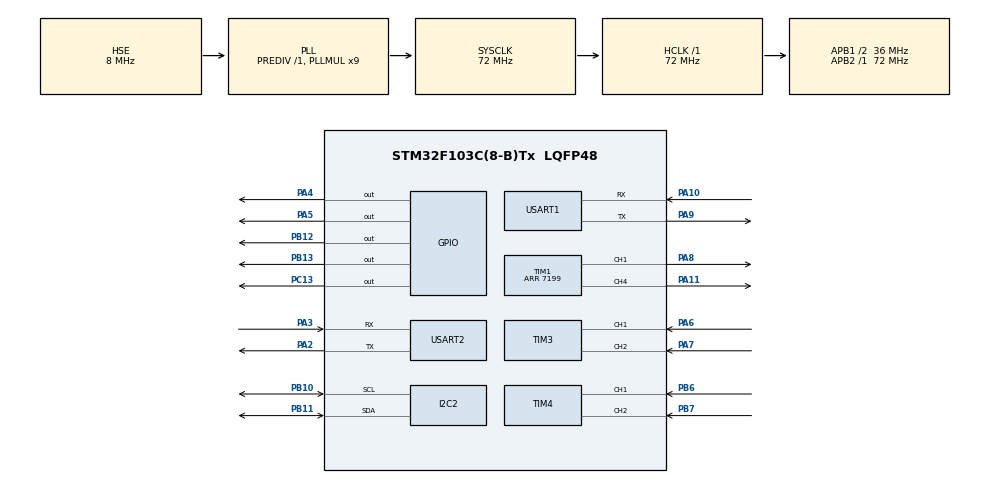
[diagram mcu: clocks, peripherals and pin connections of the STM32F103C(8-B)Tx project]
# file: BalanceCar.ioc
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I2C2.I2C_Mode=I2C_Fast
Mcu.Family=STM32F1
Mcu.Name=STM32F103C(8-B)Tx
Mcu.Package=LQFP48
NVIC.PriorityGroup=NVIC_PRIORITYGROUP_4
NVIC.TIM2_IRQn=true\:0\:0\:false\:false\:true\:true\:true
NVIC.USART1_IRQn=true\:0\:0\:false\:false\:true\:true\:true
PA10.Mode=Asynchronous
PA10.Signal=USART1_RX
PA11.Signal=S_TIM1_CH4
PA13.Mode=Serial_Wire
PA13.Signal=SYS_JTMS-SWDIO
PA14.Mode=Serial_Wire
PA14.Signal=SYS_JTCK-SWCLK
PA2.Mode=Asynchronous
PA2.Signal=USART2_TX
PA3.Mode=Asynchronous
PA3.Signal=USART2_RX
PA4.GPIO_Speed=GPIO_SPEED_FREQ_HIGH
PA4.Signal=GPIO_Output
PA5.GPIO_Speed=GPIO_SPEED_FREQ_HIGH
PA5.Signal=GPIO_Output
PA6.Signal=S_TIM3_CH1
PA7.Signal=S_TIM3_CH2
PA8.Signal=S_TIM1_CH1
PA9.Mode=Asynchronous
PA9.Signal=USART1_TX
PB10.Mode=I2C
PB10.Signal=I2C2_SCL
PB11.Mode=I2C
PB11.Signal=I2C2_SDA
PB12.GPIO_Speed=GPIO_SPEED_FREQ_HIGH
PB12.Signal=GPIO_Output
PB13.GPIO_Speed=GPIO_SPEED_FREQ_HIGH
PB13.Signal=GPIO_Output
PB6.Signal=S_TIM4_CH1
PB7.Signal=S_TIM4_CH2
PC13-TAMPER-RTC.Signal=GPIO_Output
PD0-OSC_IN.Mode=HSE-External-Oscillator
PD0-OSC_IN.Signal=RCC_OSC_IN
PD1-OSC_OUT.Mode=HSE-External-Oscillator
PD1-OSC_OUT.Signal=RCC_OSC_OUT
ProjectManager.HeapSize=0x200
ProjectManager.StackSize=0x400
ProjectManager.TargetToolchain=MDK-ARM V5
RCC.AHBFreq_Value=72000000
RCC.APB1CLKDivider=RCC_HCLK_DIV2
RCC.APB1Freq_Value=36000000
RCC.APB1TimFreq_Value=72000000
RCC.APB2Freq_Value=72000000
RCC.APB2TimFreq_Value=72000000
RCC.HCLKFreq_Value=72000000
RCC.PLLMUL=RCC_PLL_MUL9
RCC.PLLSourceVirtual=RCC_PLLSOURCE_HSE
RCC.SYSCLKFreq_VALUE=72000000
RCC.SYSCLKSource=RCC_SYSCLKSOURCE_PLLCLK
RCC.USBFreq_Value=72000000
SH.S_TIM1_CH1.0=TIM1_CH1,PWM Generation1 CH1
SH.S_TIM1_CH4.0=TIM1_CH4,PWM Generation4 CH4
SH.S_TIM3_CH1.0=TIM3_CH1,Encoder_Interface
SH.S_TIM3_CH2.0=TIM3_CH2,Encoder_Interface
SH.S_TIM4_CH1.0=TIM4_CH1,Encoder_Interface
SH.S_TIM4_CH2.0=TIM4_CH2,Encoder_Interface
TIM1.Channel-PWM\ Generation1\ CH1=TIM_CHANNEL_1
TIM1.Channel-PWM\ Generation4\ CH4=TIM_CHANNEL_4
TIM1.Period=7199
TIM2.AutoReloadPreload=TIM_AUTORELOAD_PRELOAD_ENABLE
TIM2.Period=99
TIM2.Prescaler=7199
TIM3.EncoderMode=TIM_ENCODERMODE_TI12
TIM4.EncoderMode=TIM_ENCODERMODE_TI12
USART1.VirtualMode=VM_ASYNC
USART2.VirtualMode=VM_ASYNC
VP_TIM1_VS_ClockSourceINT.Mode=Internal
VP_TIM2_VS_ClockSourceINT.Mode=Internal
board=custom

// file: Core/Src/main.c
/* USER CODE BEGIN Header */
/**
  ******************************************************************************
  * @file           : main.c
  * @brief          : Main program body
  ******************************************************************************
  * @attention
  *
  * Copyright (c) 2022 STMicroelectronics.
  * All rights reserved.
  *
  * This software is licensed under terms that can be found in the LICENSE file
  * in the root directory of this software component.
  * If no LICENSE file comes with this software, it is provided AS-IS.
  *
  ******************************************************************************
  */
/* USER CODE END Header */
#include "main.h"
#include "i2c.h"
#include "tim.h"
#include "usart.h"
#include "gpio.h"

/* USER CODE BEGIN Includes */
#include "stdio.h"
#include "math.h"
#include "mpu6050.h"
#include "inv_mpu.h"
#include "inv_mpu_dmp_motion_driver.h"
/* USER CODE END Includes */

/* USER CODE BEGIN PTD */

//-----全局变量---
__IO uint32_t uwTick_UART = 0;
int Vertical_out,Velocity_out,Turn_out; // 直立环&速度环&转向环的输出变量
int Encoder_Left,Encoder_Right,Balance_PWM;
int Moto1,Moto2;
int PWM_out,Turn_Pwm; //闭环输出

u8 AIN1,AIN2;//控制电机正反转
u8 BIN1,BIN2;
u8 Moto_Flag=0;//电机控制标志
u8 Start_Flag=0;//系统初始化完成标志

float Pitch,Roll,Yaw;	        // Pitch：俯仰角，Roll：横滚角，Yaw：偏航角
short gyrox,gyroy,gyroz;        // 角速度
short aacx,aacy,aacz;           // 加速度
float Med_Angle=0;//机械中值，能使得小车真正平衡住的角度

uint8_t Usart1_RX_Buf;  //串口接收数据缓存buf
u8 Flag_forward = 0, Flag_retreat = 0, Flag_left = 0, Flag_right = 0;//蓝牙遥控标志
unsigned char Usart_TX_Buf[40];

//----子函数声明-----
void UART_Proc();
//void	go();
//void	stop();
//void	backward();
int Vertical(float Angle,float Gyro_Y);			 				//直立环
int Velocity(int Encoder_left,int Encoder_right);				//速度环
int Turn(int Encoder_Left,int Encoder_Right,float gyro);	//转向环
u8 Stop(signed int angle);    		//倒下保护
void Limit(int *motoA,int *motoB);  //电机速度限幅
void Set_Pwm(int Moto1,int Moto2);	//控制PWM最终输出

//-----printf重定向-----
int fputc(int ch,FILE *f)
{
	HAL_UART_Transmit(&huart2,(uint8_t *)&ch,1,0xFFFF);
	return ch;

}

/* USER CODE END PTD */

void SystemClock_Config(void);

int main(void)
{

  /* MCU Configuration--------------------------------------------------------*/

  /* Reset of all peripherals, Initializes the Flash interface and the Systick. */
  HAL_Init();

  /* Configure the system clock */
  SystemClock_Config();

  /* Initialize all configured peripherals */
  MX_GPIO_Init();
  MX_I2C2_Init();
  MX_USART2_UART_Init();
  MX_TIM1_Init();
  MX_TIM3_Init();
  MX_TIM4_Init();
  MX_TIM2_Init();
  MX_USART1_UART_Init();
  /* USER CODE BEGIN 2 */
  //启动TIM初始化
    HAL_TIM_Base_Start_IT(&htim2);//每10ms触发一次中断

    HAL_TIM_PWM_Start(&htim1, TIM_CHANNEL_1);//PWM
  	 HAL_TIM_PWM_Start(&htim1, TIM_CHANNEL_4);

	 HAL_TIM_Encoder_Start(&htim3,TIM_CHANNEL_1);//编码器
	 HAL_TIM_Encoder_Start(&htim3,TIM_CHANNEL_2);
	 HAL_TIM_Encoder_Start(&htim4,TIM_CHANNEL_1);
	 HAL_TIM_Encoder_Start(&htim4,TIM_CHANNEL_2);
//
//    HAL_UART_Receive_IT(&huart1, &Usart1_RX_Buf, 1);//使能串口1接收中断

//	 sprintf((char *)Usart_TX_Buf,"AT+UART=115200,0,0\r\n");
//    HAL_UART_Transmit(&huart1,(unsigned char*)Usart_TX_Buf,strlen(str),8);

	//------MPU6050测试-----
//   printf("Mpu6050 Project Start\r\n");

  //----iic读取MUP器件ID----
  uint8_t recv = 0x00;
  HAL_I2C_Mem_Read(&hi2c2, (0x68 << 1), 0x75, I2C_MEMADD_SIZE_8BIT, &recv, 1, 0xfff);//句柄，MUP地址,器件ID寄存器

  if (recv == 0x68)
  {
//    printf("mpu6050 ID Read: OK at 0x68\r\n");
  }
  else
  {
//    printf("Err mpu id:0x%x\r\n", recv);
  }

  //-----DMP初始化----
  while(mpu_dmp_init())//成功返回0，否则返回1
  {
		uint8_t res;
		res = mpu_dmp_init();
		HAL_Delay(300);
//		printf("res=%d\r\n",res);
//	   printf("-----------------------3333------------\r\n");

  }
// printf("---------------MPU初始化成功！！1---------------\r\n");
 HAL_GPIO_WritePin(GPIOC, GPIO_PIN_13, 0); //打开PC13 LED
 Start_Flag = 1; //标志系统初始化成功

  /* USER CODE END 2 */

  /* Infinite loop */
  while (1)
  {

    /* USER CODE BEGIN 3 */

	UART_Proc();

  }
  /* USER CODE END 3 */
}

void SystemClock_Config(void)
{
  RCC_OscInitTypeDef RCC_OscInitStruct = {0};
  RCC_ClkInitTypeDef RCC_ClkInitStruct = {0};

  /** Initializes the RCC Oscillators according to the specified parameters
  * in the RCC_OscInitTypeDef structure.
  */
  RCC_OscInitStruct.OscillatorType = RCC_OSCILLATORTYPE_HSE;
  RCC_OscInitStruct.HSEState = RCC_HSE_ON;
  RCC_OscInitStruct.HSEPredivValue = RCC_HSE_PREDIV_DIV1;
  RCC_OscInitStruct.HSIState = RCC_HSI_ON;
  RCC_OscInitStruct.PLL.PLLState = RCC_PLL_ON;
  RCC_OscInitStruct.PLL.PLLSource = RCC_PLLSOURCE_HSE;
  RCC_OscInitStruct.PLL.PLLMUL = RCC_PLL_MUL9;
  if (HAL_RCC_OscConfig(&RCC_OscInitStruct) != HAL_OK)
  {
    Error_Handler();
  }
  /** Initializes the CPU, AHB and APB buses clocks
  */
  RCC_ClkInitStruct.ClockType = RCC_CLOCKTYPE_HCLK|RCC_CLOCKTYPE_SYSCLK
                              |RCC_CLOCKTYPE_PCLK1|RCC_CLOCKTYPE_PCLK2;
  RCC_ClkInitStruct.SYSCLKSource = RCC_SYSCLKSOURCE_PLLCLK;
  RCC_ClkInitStruct.AHBCLKDivider = RCC_SYSCLK_DIV1;
  RCC_ClkInitStruct.APB1CLKDivider = RCC_HCLK_DIV2;
  RCC_ClkInitStruct.APB2CLKDivider = RCC_HCLK_DIV1;

  if (HAL_RCC_ClockConfig(&RCC_ClkInitStruct, FLASH_LATENCY_2) != HAL_OK)
  {
    Error_Handler();
  }
}

/* USER CODE BEGIN 4 */

/**************************************************************************
函数功能：10ms定时器中断，主控制函数
**************************************************************************/
void HAL_TIM_PeriodElapsedCallback(TIM_HandleTypeDef *htim)
{

  if(htim->Instance == TIM2)//TIM2设置为10ms中断
  {
		// 1.采集编码器数据&MPU6050角度信息
   // 电机是相对安装，刚好相差180度，为了编码器输出极性一致，就需要对其中一个取反

	  mpu_dmp_get_data(&Pitch,&Roll,&Yaw);	    // 读取角度
     MPU_Get_Gyroscope(&gyrox,&gyroy,&gyroz);  // 读取角速度
     MPU_Get_Accelerometer(&aacx,&aacy,&aacz); // 读取加速度

	  	Encoder_Left  =   Read_Encoder(3);		//读取编码器测量的电机转速
		Encoder_Right =   Read_Encoder(4);

  // 2.将数据压入闭环控制中，计算出控制输出量
//	  Velocity_out = Velocity(Encoder_Left,Encoder_Right);// 速度环输出误差
	  Vertical_out = Vertical(Roll,gyrox+62);// 直立环输出PWM

	  // -------------蓝牙控制--------------
//	  if(1==Flag_left||1==Flag_right)
//			Turn_Pwm =Turn(Encoder_Left,Encoder_Right,gyroz+33);//出现左右转标志才进入转向环闭环控制
//	  else
//			Turn_Pwm=-0.5*(gyroz+33); //保持走直线

		//------------最终输出----------------
	  PWM_out= Vertical_out+Velocity_out;

	  // 3.把控制输出量加载到电机上，完成最终控制
		Moto1 = PWM_out+Turn_Pwm; // 左电机
      Moto2 = PWM_out-Turn_Pwm; // 右电机
      Limit(&Moto1,&Moto1);     // PWM限幅
		Set_Pwm(Moto1,Moto2);        // 加载到电机上
  }

}

/***************************************************************************
直立环PD控制器：Kp*Ek+Kd*Ek_D
入口：Med:机械中值(期望角度)，Angle:真实角度，gyro_Y:真实角速度
出口：PMW数值
******************************************************************************/
int Vertical(float Angle,float Gyro_Y)
{
	float Vertical_Kp= -550,Vertical_Kd= -02;	//直立环Kp,Kd
	PWM_out = Vertical_Kp*(Angle-0.25)+Vertical_Kd*(Gyro_Y-0);
	return PWM_out;
}

/*********************************************************************
速度环PI控制器：Kp*Ek+Ki*Ek_S(Ek_S：偏差的积分)
入口：左右编码器测到的数值
出口：
**********************************************************************/
int Velocity(int Encoder_left,int Encoder_right)
{
	// 定义成静态变量，保存在静态存储器，使得变量不丢掉
	static float Velocity,Encoder_Err,Encoder,Encoder_last,Movement=0; //速度，误差，编码器
	static float Encoder_Integral;					  //编码器数值积分

	float kp=10,ki=0.05;

	//--------------蓝牙控制----------------
	if(1==Flag_forward) 		    Movement = -200;
	else if(1==Flag_retreat)    Movement = 200;
	else							    Movement = 0;

	// 1.计算速度偏差
	Encoder_Err = ((Encoder_Left+Encoder_Right)-0);

	// 2.对速度偏差进行--低通滤波--
  // low_out = (1-a)*Ek+a*low_out_last
	Encoder = Encoder_Err*0.3 + Encoder_last*0.7;// 使得波形更加平滑
	Encoder_last = Encoder; 							// 防止速度过大影响直立环的正常工作

	// 3.对速度偏差积分出位移,遥控的速度通过积分融入速度控制器，减缓速度突变对直立控制的影响
  Encoder_Integral += Encoder-Movement;

	// 4.积分限幅
	if(Encoder_Integral>3000)  	Encoder_Integral=3000;
	if(Encoder_Integral<-3000)	   Encoder_Integral=-3000;

	if(Moto_Flag == 1||Start_Flag ==0) 			Encoder_Integral=0;     		//===电机关闭后或者复位清除积分
    //5.速度环控制输出
  Velocity=Encoder*kp+Encoder_Integral*ki;

	return Velocity;

}

/*********************************************************************
转向环：系数*Z轴角速度+系数*遥控数据
入口：左右电机编码器测得数值，Z轴角速度
**********************************************************************/
int Turn(int Encoder_Left,int Encoder_Right,float gyro)
{
   float Turn_Target,Turn_PWM,Bias,Encoder_temp,Turn_Convert=70,Turn_Count;
   float Turn_Amplitude=100,Turn_Kp=10,Turn_Kd=0;

	// --- 蓝牙控制 ---
	if(1==Flag_left) 			Turn_Target+=Turn_Convert;//左转标志
	else if(1==Flag_right)  Turn_Target-=Turn_Convert; //右转标志
	 else 						 Turn_Target=0;

	 if(Turn_Target>Turn_Amplitude)  Turn_Target=Turn_Amplitude; //转速限幅
    if(Turn_Target<-Turn_Amplitude)  Turn_Target=-Turn_Amplitude;

	 if(Flag_forward==1||Flag_retreat==1) Turn_Kd=7;
    else 										  Turn_Kd=0;//前进或者后退标志

	 //=============turing PD controller==================//
		Turn_PWM= -Turn_Target*Turn_Kp+gyro*Turn_Kd;

  return Turn_PWM;

}

/***************************************************************************
函数功能：控制电机
******************************************************************************/
void Contrl(void)
{
	HAL_GPIO_WritePin(GPIOA, GPIO_PIN_4, AIN1);
	HAL_GPIO_WritePin(GPIOA, GPIO_PIN_5, AIN2);

	HAL_GPIO_WritePin(GPIOB, GPIO_PIN_12, BIN1);
	HAL_GPIO_WritePin(GPIOB, GPIO_PIN_13, BIN2);

}

/**************************************************************************
函数功能：电机异常关闭函数
入口参数：角度
返回  值：1：关闭，0：不关闭
**************************************************************************/
u8 Stop(signed int angle)
{
	    u8 temp=0;
			if(angle<-50||angle>50)
			{	                                //===倾角大于40度关闭电机
				temp=1;                   		   //===Flag_Stop置1关闭电机
				Moto1 = 0;
				Moto2 = 0;
      }

		return temp;
}

/**************************************************************************
函数功能：电机转动控制函数
入口参数：闭环控制最终输出值
**************************************************************************/
void Set_Pwm(int Moto1,int Moto2)
{

	 int dead_zone = 3000 ;		//L298N控制死区 0 - 3000
	 Moto_Flag=Stop(Roll);	//获取是否倒下的标志
	if(Start_Flag == 1)		//一级判断系统是否正常初始化
	{
		if(Moto_Flag==0)	//二级判断
		{
			if(Moto1>0)  AIN1 = 1,AIN2 = 0;
			else			 AIN1 = 0,AIN2 = 1;
			__HAL_TIM_SET_COMPARE(&htim1,TIM_CHANNEL_1,abs(Moto1)+dead_zone);

			if(Moto2>0)  BIN1 = 1,BIN2 = 0;
			else		    BIN1 = 0 ,BIN2 = 1;
    		__HAL_TIM_SET_COMPARE(&htim1,TIM_CHANNEL_4,abs(Moto1)+dead_zone); //0-7200
		}

		else//倒下就关闭电机
		{
		   __HAL_TIM_SET_COMPARE(&htim1,TIM_CHANNEL_1,0);	//4500-6000
		   __HAL_TIM_SET_COMPARE(&htim1,TIM_CHANNEL_4,0);	//4500-6000
		}
		 Contrl();
	}
}

/**************************************************************************
函数功能：限制电机速度
入口参数：闭环控制最终输出值
**************************************************************************/
void Limit(int *motoA,int *motoB)
{
	if(*motoA>7000)*motoA=7000;//最大7200
	if(*motoA<-7000)*motoA=-7000;

	if(*motoB>7000)*motoB=7000;
	if(*motoB<-7000)*motoB=-7000;
}

/**************************************************************************
函数功能：蓝牙遥控设置USART1接收中断回调
引脚：		 TX_PA9,RX_PA10
**************************************************************************/
//串口中断回调函数
void HAL_UART_RxCpltCallback(UART_HandleTypeDef *huart)
{
	switch(Usart1_RX_Buf)
    {
        case 0:
        Flag_forward = 0, Flag_retreat = 0, Flag_left = 0, Flag_right = 0;
        break;
        case 1:
        Flag_forward = 1, Flag_retreat = 0, Flag_left = 0, Flag_right = 0;
        HAL_GPIO_TogglePin(GPIOC, GPIO_PIN_13);
        break;
        case 2:
        Flag_forward = 0, Flag_retreat = 1, Flag_left = 0, Flag_right = 0;
        HAL_GPIO_TogglePin(GPIOC, GPIO_PIN_13);
        break;
        case 3:
        Flag_forward = 0, Flag_retreat = 0, Flag_left = 1, Flag_right = 0;
        HAL_GPIO_TogglePin(GPIOC, GPIO_PIN_13);
        break;
        case 4:
        Flag_forward = 0, Flag_retreat = 0, Flag_left = 0, Flag_right = 1;
        HAL_GPIO_TogglePin(GPIOC, GPIO_PIN_13);
        break;
        default:
        Flag_forward = 0, Flag_retreat = 0, Flag_left = 0, Flag_right = 0;
        HAL_GPIO_WritePin(GPIOC, GPIO_PIN_13,1);
        break;
    }
    HAL_UART_Receive_IT(&huart1, &Usart1_RX_Buf, 1);
}

/**************************************************************************
函数功能：通过串口测试数据
**************************************************************************/
void UART_Proc()
{
  if((uwTick - uwTick_UART) < 15) return;
	uwTick_UART = uwTick;

		printf("%d\r\n",PWM_out);
//		printf("1111\n");

//	printf("-------------------------------------------\r\n");
//   if ((mpu_dmp_get_data(&Pitch, &Roll, &Yaw) == 0) && (MPU_Get_Gyroscope(&gyrox,&gyroy,&gyroz) == 0)) //DMP读取欧拉角，digital motion processor数字运动处理器
//    {
//		//俯仰角，横滚角，偏航角
////		 printf("pitch=%.3f   roll=%.3f   yaw=%.3f \r\n", Pitch, Roll, Yaw);   //串口打印欧拉角
////   	 printf("gyrox=%d   gyroy=%d  gyroz=%d \r\n", gyrox, gyroy, gyroz);	// 角速度
////		 printf("-------------------------------------------\r\n");
//
//	 }
//	  printf("Vertical_out=%d",Vertical_out);

}

/* USER CODE END 4 */

void Error_Handler(void)
{
  __disable_irq();
  while (1)
  {
  }
}
